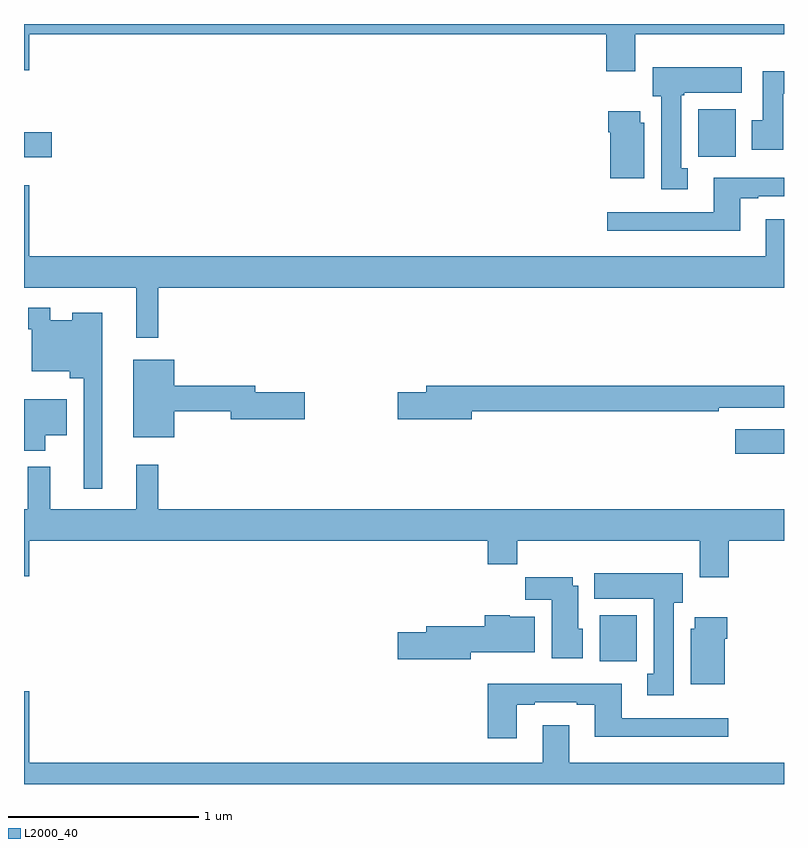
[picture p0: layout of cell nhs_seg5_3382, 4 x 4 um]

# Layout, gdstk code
import gdstk
lib = gdstk.Library(unit=1e-6, precision=1e-09)
def R(c, l, rs):  # rectangles x0, y0, x1, y1
    for r in rs: c.add(gdstk.rectangle(r[:2], r[2:], *l))
def P(c, l, *ps):  # polygons
    for p in ps: c.add(gdstk.Polygon(p, *l))
L2000_40 = (2000, 40)

nhs_seg5_3382 = lib.new_cell('nhs_seg5_3382')
R(nhs_seg5_3382, L2000_40, [(312.029,869.444,312.226,869.686), (312.744,870.538,313,870.667), (309,872.099,309.145,872.229), (312.549,872.1,312.745,872.35)])
P(nhs_seg5_3382, L2000_40, [(312.217,872.744),(313,872.744),(313,872.799),(309,872.799),(309,872.556),(309.028,872.556),(309.028,872.744),(312.065,872.744),(312.065,872.55),(312.217,872.55)],
  [(312.493,872.041),(312.46,872.041),(312.46,872.425),(312.474,872.425),(312.474,872.438),(312.778,872.438),(312.778,872.572),(312.308,872.572),(312.308,872.418),(312.353,872.418),(312.353,871.929),(312.493,871.929)],
  [(312.997,872.432),(313,872.432),(313,872.551),(312.887,872.551),(312.887,872.292),(312.83,872.292),(312.83,872.136),(312.997,872.136)],
  [(312.265,872.28),(312.244,872.28),(312.244,872.341),(312.074,872.341),(312.074,872.228),(312.086,872.228),(312.086,871.988),(312.265,871.988)],
  [(312.769,871.881),(312.865,871.881),(312.865,871.893),(313,871.893),(313,871.99),(312.629,871.99),(312.629,871.809),(312.069,871.809),(312.069,871.712),(312.769,871.712)],
  [(309.028,871.951),(309,871.951),(309,871.412),(309.59,871.412),(309.59,871.149),(309.707,871.149),(309.707,871.412),(313,871.412),(313,871.771),(312.905,871.771),(312.905,871.576),(309.028,871.576)],
  [(309.412,871.279),(309.254,871.279),(309.254,871.24),(309.138,871.24),(309.138,871.306),(309.022,871.306),(309.022,871.193),(309.042,871.193),(309.042,870.971),(309.242,870.971),(309.242,870.935),(309.315,870.935),(309.315,870.354),(309.412,870.354)],
  [(309.79,870.76),(310.088,870.76),(310.088,870.718),(310.477,870.718),(310.477,870.86),(310.216,870.86),(310.216,870.896),(309.79,870.896),(309.79,871.033),(309.575,871.033),(309.575,870.623),(309.79,870.623)],
  [(311.356,870.76),(312.656,870.76),(312.656,870.78),(313,870.78),(313,870.896),(311.117,870.896),(311.117,870.86),(310.968,870.86),(310.968,870.718),(311.356,870.718)],
  [(309.112,870.635),(309.226,870.635),(309.226,870.823),(309,870.823),(309,870.554),(309.112,870.554)],
  [(312.71,870.08),(313,870.08),(313,870.244),(309.707,870.244),(309.707,870.478),(309.59,870.478),(309.59,870.244),(309.137,870.244),(309.137,870.469),(309.019,870.469),(309.019,870.244),(309,870.244),(309,869.892),(309.028,869.892),(309.028,870.08),(311.441,870.08),(311.441,869.956),(311.597,869.956),(311.597,870.08),(312.557,870.08),(312.557,869.886),(312.71,869.886)],
  [(312.421,869.754),(312.466,869.754),(312.466,869.908),(312.002,869.908),(312.002,869.774),(312.314,869.774),(312.314,869.378),(312.281,869.378),(312.281,869.265),(312.421,869.265)],
  [(311.941,869.616),(311.917,869.616),(311.917,869.842),(311.887,869.842),(311.887,869.887),(311.638,869.887),(311.638,869.768),(311.777,869.768),(311.777,869.462),(311.941,869.462)],
  [(311.352,869.492),(311.689,869.492),(311.689,869.68),(311.556,869.68),(311.556,869.686),(311.426,869.686),(311.426,869.628),(311.117,869.628),(311.117,869.598),(310.968,869.598),(310.968,869.456),(311.352,869.456)],
  [(312.688,869.564),(312.701,869.564),(312.701,869.677),(312.53,869.677),(312.53,869.616),(312.509,869.616),(312.509,869.324),(312.688,869.324)],
  [(311.593,869.217),(311.689,869.217),(311.689,869.229),(311.909,869.229),(311.909,869.217),(312.005,869.217),(312.005,869.048),(312.706,869.048),(312.706,869.145),(312.145,869.145),(312.145,869.326),(311.441,869.326),(311.441,869.04),(311.593,869.04)],
  [(313,868.912),(311.869,868.912),(311.869,869.107),(311.729,869.107),(311.729,868.912),(309.028,868.912),(309.028,869.287),(309,869.287),(309,868.799),(313,868.799)])

lib.write_gds('nhs_seg5_3382.gds')
